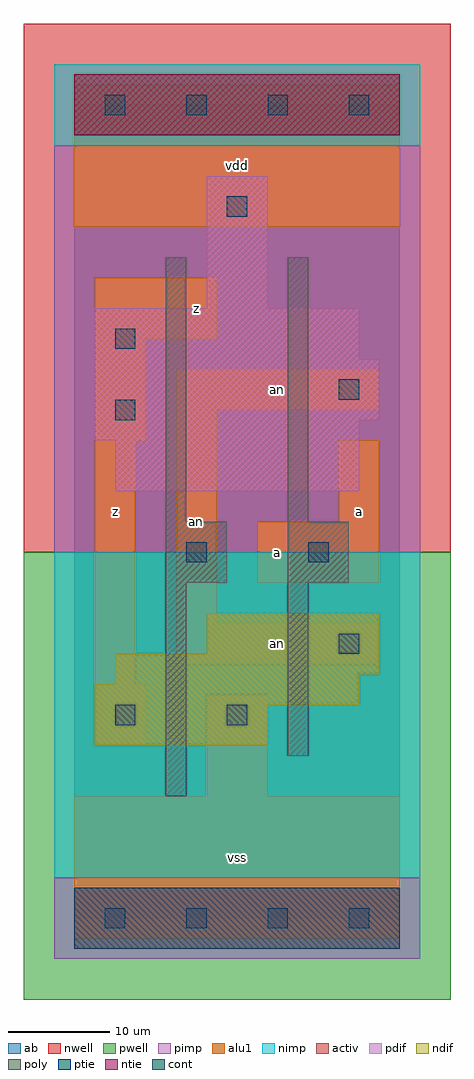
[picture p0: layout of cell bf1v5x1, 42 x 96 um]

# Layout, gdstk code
import gdstk
lib = gdstk.Library(unit=1e-6, precision=1e-09)
def R(c, l, rs):  # rectangles x0, y0, x1, y1
    for r in rs: c.add(gdstk.rectangle(r[:2], r[2:], *l))
def A(c, l, x, y, w, h, nx, ny, dx, dy):  # array of equal rectangles
    R(c, l, [(x+i*dx, y+j*dy, x+i*dx+w, y+j*dy+h) for i in range(nx) for j in range(ny)])
ndif = (3, 0)
pdif = (4, 0)
ntie = (5, 0)
ptie = (6, 0)
cont = (25, 0)
pwell = (41, 0)
nwell = (42, 0)
activ = (43, 0)
pimp = (44, 0)
nimp = (45, 0)
poly = (46, 0)
alu1 = (49, 0)
ab = (63, 0)

bf1v5x1 = lib.new_cell('bf1v5x1')
R(bf1v5x1, ndif, [(2,17,19,21), (2,21,28,23), (4,23,28,24), (4,24,30,26), (13,26,30,30)])
R(bf1v5x1, pdif, [(4,42,28,47), (2,47,28,49), (2,49,30,55), (2,55,28,60), (13,60,19,73)])
R(bf1v5x1, ntie, [(0,77,32,83)])
R(bf1v5x1, ptie, [(0,-3,32,3)])
A(bf1v5x1, cont, 3, -1, 2, 2, 4, 2, 8, 80)
R(bf1v5x1, cont, [(4,19,6,21), (15,19,17,21), (26,26,28,28), (11,35,13,37), (23,35,25,37), (4,49,6,51), (26,51,28,53), (4,56,6,58), (15,69,17,71)])
R(bf1v5x1, pwell, [(-5,-8,37,36)])
R(bf1v5x1, nwell, [(-5,36,37,88)])
R(bf1v5x1, activ, [(0,-3,32,3), (2,17,19,21), (2,21,28,23), (4,23,28,24), (4,24,30,26), (13,26,30,30), (4,42,28,47), (2,47,28,49), (2,49,30,55), (2,55,28,60), (13,60,19,73), (0,77,32,83)])
R(bf1v5x1, pimp, [(-2,-4,34,4), (-2,36,34,76)])
R(bf1v5x1, nimp, [(-2,4,34,36), (-2,76,34,84)])
R(bf1v5x1, poly, [(9,12,11,33), (21,16,23,33), (9,33,15,39), (21,33,27,39), (9,39,11,65), (21,39,23,65)])
R(bf1v5x1, alu1, [(0,-2,32,12), (13,12,19,22), (2,17,7,23), (2,23,6,47), (10,25,30,29), (10,29,14,50), (18,33,30,39), (26,39,30,47), (2,47,7,57), (10,50,30,54), (2,57,14,63), (0,68,32,82)])
R(bf1v5x1, ab, [(0,0,32,80)])
bf1v5x1.add(gdstk.Label('an', (12,39), layer=49, texttype=0))
bf1v5x1.add(gdstk.Label('an', (20,27), layer=49, texttype=0))
bf1v5x1.add(gdstk.Label('an', (20,52), layer=49, texttype=0))
bf1v5x1.add(gdstk.Label('z', (4,40), layer=49, texttype=0))
bf1v5x1.add(gdstk.Label('vss', (16,6), layer=49, texttype=0))
bf1v5x1.add(gdstk.Label('z', (12,60), layer=49, texttype=0))
bf1v5x1.add(gdstk.Label('vdd', (16,74), layer=49, texttype=0))
bf1v5x1.add(gdstk.Label('a', (20,36), layer=49, texttype=0))
bf1v5x1.add(gdstk.Label('a', (28,40), layer=49, texttype=0))

lib.write_gds('bf1v5x1.gds')
